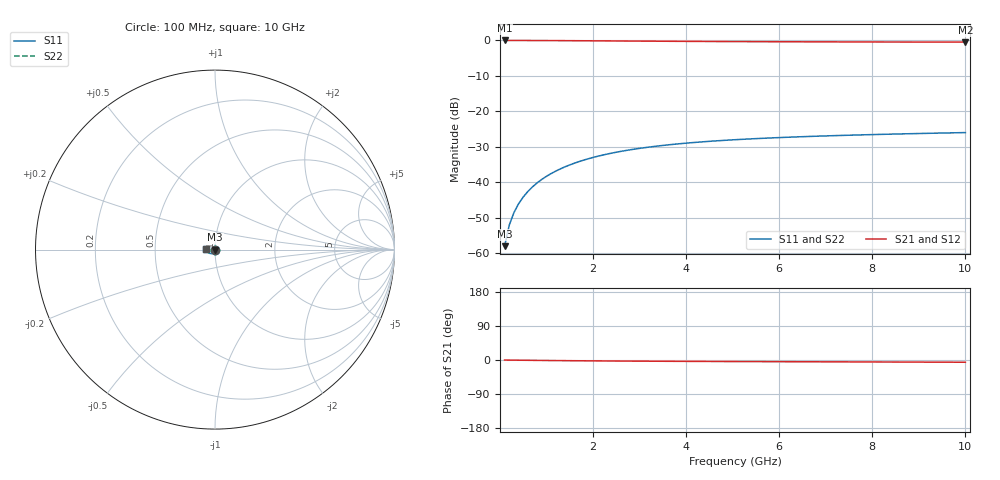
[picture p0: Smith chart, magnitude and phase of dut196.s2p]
! Touchstone file exported from HFSS 2024.1.0
!  File:  C:/UserFiles/LocalFiles/RDL_TSV_Batchsim/temp_TSV1_196_1779385436.aedt
!  Generated:  01:49:26 AM May 22, 2026
!  Design:  TSV1
!  Project:  temp_TSV1_196_1779385436
!  Setup:  Setup1
!  Solution:  Sweep
! Variables:
!  dtsv = 8.73um
!  hbump = 3um
!  htsv = 94.25um
!  lrdl = 252.1521522um
!  p = 40
!  p1 = 45.03um
!  t = 500um
!  trdl = 3um
!  wrdl = 24.89489489um
# GHz S MA R 50.000000
! Terminal data exported
! Port[1] = TSV22_T1
! Port[2] = TSV22_T2
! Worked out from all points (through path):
!   100 points, 100 MHz to 10 GHz, reference 50 ohm
!   highest |S21| = 0.00 dB at 100 MHz (marker M1); lowest = -0.5 dB at 10 GHz (marker M2)
!   lowest |S11| = -58.0 dB at 100 MHz (marker M3), VSWR 1.00, Z = 50 - j0.125 ohm
!   |S11| at or under -10 dB: start of sweep to end of sweep
!   |S22| runs from -58.0 to -26.0 dB; largest |S21 - S12| = 3.3e-15
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0.1  0.001258 -81.9  0.9997 -0.1  0.9997 -0.1  0.001258 -81.9
! Gamma 0 0 0 0
! Port Impedance 50 0 50 0
0.2  0.002494 -88.2  0.9996 -0.3  0.9996 -0.3  0.002494 -88.2
0.3  0.003737 -91.5  0.9994 -0.4  0.9994 -0.4  0.003737 -91.5
0.4  0.004977 -94.0  0.9991 -0.5  0.9991 -0.5  0.004977 -94.0
0.5  0.006209 -96.2  0.9988 -0.7  0.9988 -0.7  0.006209 -96.2
0.6  0.007429 -98.2  0.9984 -0.8  0.9984 -0.8  0.007429 -98.2
0.7  0.008636 -100.1  0.9979 -0.9  0.9979 -0.9  0.008636 -100.1
0.8  0.009828 -101.9  0.9974 -1.0  0.9974 -1.0  0.009828 -101.9
0.9  0.011 -103.7  0.9969 -1.1  0.9969 -1.1  0.011 -103.7
1.1  0.01329 -107.1  0.9956 -1.4  0.9956 -1.4  0.01329 -107.1
1.4  0.01655 -111.9  0.9933 -1.7  0.9933 -1.7  0.01655 -111.9
1.6  0.01861 -115.0  0.9916 -1.9  0.9916 -1.9  0.01861 -115.0
1.8  0.02056 -118.0  0.9898 -2.1  0.9898 -2.1  0.02056 -118.0
2.1  0.02329 -122.2  0.9871 -2.4  0.9871 -2.4  0.02329 -122.2
2.5  0.02656 -127.5  0.9834 -2.7  0.9834 -2.7  0.02656 -127.5
2.9  0.02944 -132.4  0.9797 -3.0  0.9797 -3.0  0.02944 -132.4
3.4  0.03255 -137.9  0.9754 -3.3  0.9754 -3.3  0.03255 -137.9
4.2  0.03656 -145.8  0.9693 -3.7  0.9693 -3.7  0.03656 -145.8
5.1  0.04003 -153.2  0.9636 -4.1  0.9636 -4.1  0.04003 -153.2
6.7  0.04445 -164.1  0.9562 -4.7  0.9562 -4.7  0.04445 -164.1
8.4  0.04777 -173.3  0.9509 -5.3  0.9509 -5.3  0.04777 -173.3
10  0.05024 179.4  0.9474 -5.9  0.9474 -5.9  0.05024 179.4
